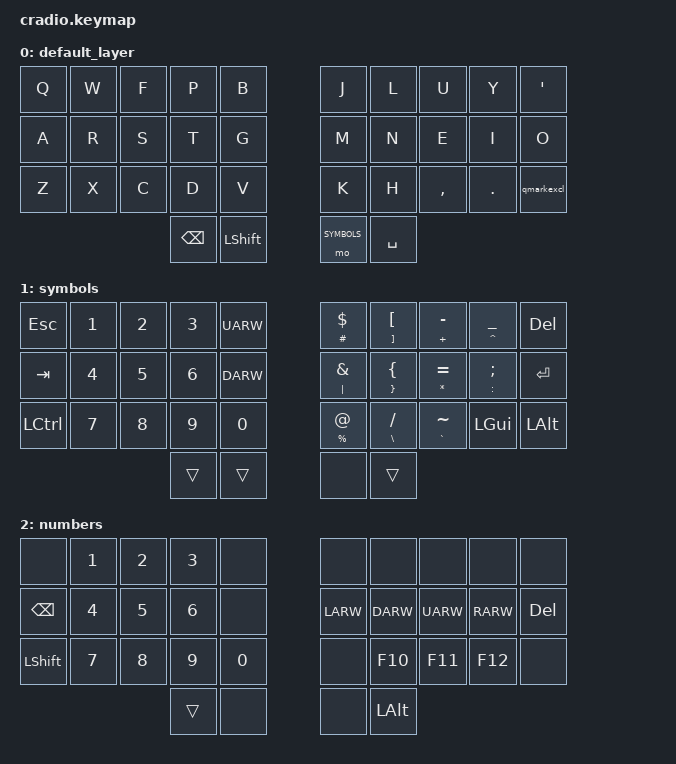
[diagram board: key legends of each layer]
// Copyright (c) 2022 The ZMK Contributors
// SPDX-License-Identifier: MIT

#include <behaviors.dtsi>
#include <dt-bindings/zmk/keys.h>
#include <dt-bindings/zmk/bt.h>

// Home row mods macro
//#define HRML(k1,k2,k3,k4) &ht LSHFT k1  &ht LALT k2  &ht LCTRL k3  &ht LGUI k4
//#define HRMR(k1,k2,k3,k4) &ht RGUI k1  &ht RCTRL k2  &ht RALT k3  &ht RSHFT k4

#define DEFAULT 0
#define SYMBOLS 1
#define NUMBERS 2

/ {
    behaviors {
        ht: hold_tap {
            label = "hold_tap";
            compatible = "zmk,behavior-hold-tap";
            #binding-cells = <2>;
            flavor = "tap-preferred";
            tapping-term-ms = <220>;
            quick-tap-ms = <150>;
            global-quick-tap;
            bindings = <&kp>, <&kp>;
        };

        skq: sticky_key_quick_release {
        compatible = "zmk,behavior-sticky-key";
        label = "STICKY_KEY_QUICK_RELEASE";
        #binding-cells = <1>;
        bindings = <&kp>;
        release-after-ms = <1000>;
        quick-release;
      };

      qmarkexcl: qmark_excl {
        compatible = "zmk,behavior-mod-morph";
        label = "QUESTIONMARK_EXCLAMATION";
        #binding-cells = <0>;
        bindings = <&kp QMARK>, <&kp EXCL>;
        mods = <(MOD_LSFT)>;
      };
    };

    conditional_layers {
        compatible = "zmk,conditional-layers";
        tri_layer {
            if-layers = <1 2>;
            then-layer = <3>;
        };
    };

    keymap {
        compatible = "zmk,keymap";
        default_layer {
            bindings = <
        //╭──────────┬──────────┬──────────┬──────────┬──────────╮   ╭──────────┬──────────┬──────────┬──────────┬──────────╮
        //│  Q       │  W       │  F       │  P       │  B       │   │  J       │  L       │  U       │  Y       │    ' "   │
            &kp Q      &kp W      &kp F      &kp P      &kp B          &kp J      &kp L      &kp U      &kp Y      &kp SQT
        //├──────────┼──────────┼──────────┼──────────┼──────────┤   ├──────────┼──────────┼──────────┼──────────┼──────────┤
        //│  A       │  R       │  S       │  T       │  G       │   │  M       │  N       │  E       │  I       │  O       │
             &kp A      &kp R      &kp S      &kp T      &kp G          &kp M      &kp N      &kp E      &kp I      &kp O
        //├──────────┼──────────┼──────────┼──────────┼──────────┤   ├──────────┼──────────┼──────────┼──────────┼──────────┤
        //│  Z       │  X       │  C       │  D       │  V       │   │  K       │  H       │ ,  <     │ .  >     │ ? !      │
            &kp Z      &kp X      &kp C      &kp D      &kp V          &kp K      &kp H     &kp COMMA   &kp DOT    &qmarkexcl
        //╰──────────┴──────────┴──────────┼──────────┼──────────┤   ├──────────┼──────────┼──────────┴──────────┴──────────╯
                                              &kp BSPC &kp LSHFT      &mo SYMBOLS  &kp SPACE
        //                                 ╰──────────┴──────────╯   ╰──────────┴──────────╯
            >;
        };

        symbols {
            bindings = <
        //╭──────────┬──────────┬──────────┬──────────┬──────────╮   ╭──────────┬──────────┬──────────┬──────────┬──────────╮
        //│   ESC    │          │          │          │          │   │ #  $     │ [ ]      │ +  -     │  ^   _   │   DEL    │
           &kp ESC     &kp N1       &kp N2     &kp N3      &kp UARW        &ht HASH DLLR &ht RBKT LBKT &ht PLUS MINUS &ht CARET UNDER &kp DEL
        //├──────────┼──────────┼──────────┼──────────┼──────────┤   ├──────────┼──────────┼──────────┼──────────┼──────────┤
        //│    TAB   │          │          │          │          │   │   & |    │ { }      │   = *    │    ; :   │  ENTER   │
            &kp TAB   &kp N4      &kp N5      &kp N6       &kp DARW     &ht PIPE AMPS &ht RBRC LBRC &ht STAR EQUAL   &ht COLON SEMI &kp ENTER
        //├──────────┼──────────┼──────────┼──────────┼──────────┤   ├──────────┼──────────┼──────────┼──────────┼──────────┤
        //│ CTRL     │          │          │          │          │   │ @ %      │    / \   │    ` ~   │   WIN    │    ALT   │
           &kp LCTRL   &kp N7      &kp N8       &kp N9     &kp N0  &ht PRCNT AT  &ht BSLH FSLH    &ht GRAVE TILDE  &kp LGUI &kp LALT
        //╰──────────┴──────────┴──────────┼──────────┼──────────┤   ├──────────┼──────────┼──────────┴──────────┴──────────╯
                                              &trans    &trans         &none       &trans   
        //                                 ╰──────────┴──────────╯   ╰──────────┴──────────╯
            >;
        };

        numbers {
            bindings = <
        //╭──────────┬──────────┬──────────┬──────────┬──────────╮   ╭──────────┬──────────┬──────────┬──────────┬──────────╮
        //│          │  1       │  2       │  3       │          │   │          │          │          │          │
            &none    &kp N1     &kp N2     &kp N3       &none            &none    &none      &none      &none       &none  
        //├──────────┼──────────┼──────────┼──────────┼──────────┤   ├──────────┼──────────┼──────────┼──────────┼──────────┤
        //│          │  4       │  5       │  6       │          │   │ LEFT     │ DOWN     │ UP       │ RIGHT    │
            &kp BSPC    &kp N4     &kp N5     &kp N6     &none           &kp LARW   &kp DARW   &kp UARW   &kp RARW  &kp DEL 
        //├──────────┼──────────┼──────────┼──────────┼──────────┤   ├──────────┼──────────┼──────────┼──────────┼──────────┤
        //│ SHIFT    │  7       │  8       │  9       │  0       │   │          │          │          │          │          │
           &kp LSHFT  &kp N7     &kp N8     &kp N9     &kp N0         &none      &kp F10     &kp F11      &kp F12      &none
        //╰──────────┴──────────┴──────────┼──────────┼──────────┤   ├──────────┼──────────┼──────────┴──────────┴──────────╯
                                             &trans     &none          &none     &kp LALT
        //                                 ╰──────────┴──────────╯   ╰──────────┴──────────╯
            >;
        };
    };
};
